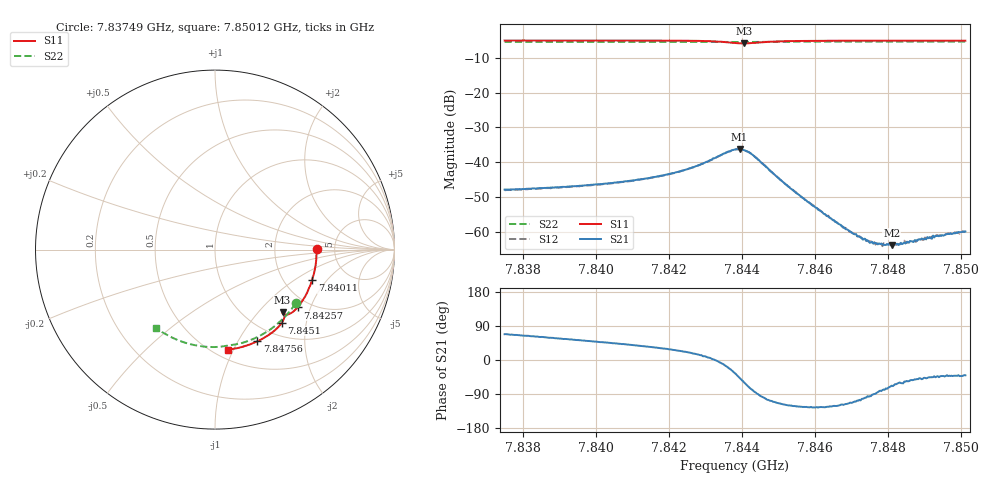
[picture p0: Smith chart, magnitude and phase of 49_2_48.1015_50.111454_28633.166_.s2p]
#  HZ  S  RI  R  50.00
! Rohde & Schwarz Vector Network Analyzer
! Rohde-Schwarz,ZNB20-2Port,1311601062101988,3.16
! Created: UTC 12/23/2023, 3:39:34 AM
! freq[Hz]  re:S11  im:S11  re:S21  im:S21  re:S12  im:S12  re:S22  im:S22
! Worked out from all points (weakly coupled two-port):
!   401 points, 7.83749 GHz to 7.85012 GHz, reference 50 ohm
!   highest |S21| = -36.21 dB at 7.84393 GHz (marker M1); lowest = -64.0 dB at 7.8481 GHz (marker M2)
!   lowest |S11| = -5.8 dB at 7.84406 GHz (marker M3), VSWR 3.11, Z = 72 - j68.4 ohm
!   |S11| at or under -10 dB: nowhere
!   |S22| runs from -5.4 to -5.3 dB; largest |S21 - S12| = 0.00031
!   S11 on the Smith chart (normalised r, x): 7.83749 GHz: 3.61, +0.03; 7.84011 GHz: 2.83, -1.42; 7.84257 GHz: 1.73, -1.63; 7.8451 GHz: 1.24, -1.46; 7.84756 GHz: 0.81, -1.21; 7.85012 GHz: 0.58, -0.95
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7.837489e9  0.5665 0.00239  0.0015 0.00373  0.00146 0.00368  0.4491 -0.2996
7.839604e9  0.5502 -0.1374  0.00285 0.00359  0.00283 0.00354  0.3515 -0.4107
7.840109e9  0.5409 -0.1704  0.00327 0.00353  0.00323 0.00348  0.3241 -0.433
7.84172e9  0.4962 -0.2713  0.00532 0.00331  0.00526 0.00328  0.2274 -0.4914
7.842572e9  0.4605 -0.3221  0.0077 0.00267  0.00769 0.00271  0.1715 -0.5135
7.84333e9  0.4129 -0.359  0.0121 -0.00068  0.0119 -0.000837  0.12 -0.5272
7.843804e9  0.3787 -0.3583  0.0124 -0.00872  0.0124 -0.0087  0.0883 -0.5318
7.84393e9  0.3753 -0.3535  0.0105 -0.0114  0.0105 -0.0112  0.0803 -0.5329
7.844056e9  0.3764 -0.3499  0.00753 -0.0128  0.00761 -0.0128  0.0726 -0.5342
7.844214e9  0.3813 -0.3506  0.0037 -0.0131  0.00385 -0.013  0.0624 -0.5361
7.844372e9  0.3859 -0.3573  0.00084 -0.0116  0.000881 -0.0117  0.052 -0.5379
7.845098e9  0.3728 -0.407  -0.00234 -0.00472  -0.00232 -0.00475  0.00137 -0.5427
7.845919e9  0.3323 -0.4507  -0.00138 -0.00195  -0.00138 -0.002  -0.0567 -0.5408
7.846961e9  0.2727 -0.4918  -0.000383 -0.000926  -0.000345 -0.000916  -0.1291 -0.5288
7.847435e9  0.2443 -0.5071  -7.28e-05 -0.000745  -7.82e-05 -0.000723  -0.1613 -0.5203
7.847561e9  0.2365 -0.5108  -2e-05 -0.000711  -1.42e-05 -0.00069  -0.1696 -0.5176
7.847782e9  0.2229 -0.5169  0.000105 -0.00065  0.000106 -0.000639  -0.1843 -0.5128
7.848035e9  0.2072 -0.5234  0.000214 -0.000635  0.000196 -0.000624  -0.2011 -0.5067
7.848098e9  0.2033 -0.525  0.000241 -0.000587  0.000207 -0.000617  -0.2051 -0.5052
7.848287e9  0.1915 -0.5295  0.000314 -0.000557  0.000299 -0.000586  -0.2173 -0.4999
7.849298e9  0.1266 -0.5485  0.000606 -0.000618  0.000622 -0.000601  -0.2807 -0.468
7.850118e9  0.0728 -0.5579  0.000762 -0.00065  0.000761 -0.000667  -0.3287 -0.4362
